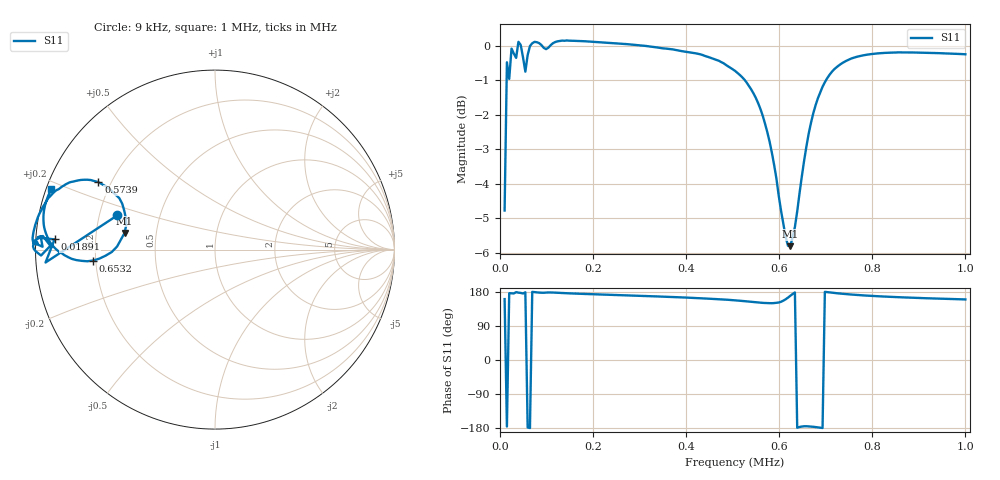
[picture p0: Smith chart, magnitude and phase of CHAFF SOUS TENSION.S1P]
!Agilent Technologies,E5071C,MY46109397,A.09.54
!Date: Mon Jan 01 01:35:31 2001
!Data & Calibration Information:
!Freq	S11:SOLT1(ON)
# Hz S RI R 50
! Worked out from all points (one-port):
!   201 points, 9 kHz to 1 MHz, reference 50 ohm
!   lowest |S11| = -5.8 dB at 623.4 kHz (marker M1), VSWR 3.10, Z = 16.2 + j4.09 ohm
!   |S11| at or under -10 dB: nowhere
!   S11 on the Smith chart (normalised r, x): 9 kHz: 0.28, +0.16; 18.91 kHz: 0.06, +0.03; 573.9 kHz: 0.15, +0.26; 653.1 kHz: 0.19, -0.04; 1 MHz: 0.01, +0.18
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9000  -0.5447 0.1905
13955  -0.9442 -0.072
18910  -0.8939 0.0569
23865  -0.9888 0.0672
28820  -0.9719 0.0751
33775  -0.9607 0.016
38730  -1.013 0.0399
48640  -0.9591 0.0758
53595  -0.9174 0.0211
58550  -0.9692 -0.033
68460  -1.009 0.00327
98190  -0.9887 0.0368
132875  -1.016 0.0593
256750  -0.996 0.1552
380625  -0.955 0.2442
504500  -0.85 0.3526
544140  -0.7616 0.3856
573870  -0.6491 0.3763
598645  -0.5333 0.2869
623420  -0.5038 0.0929
628375  -0.5249 0.054
638285  -0.5751 -0.0134
653150  -0.6788 -0.0608
672970  -0.7973 -0.0519
692790  -0.8724 -0.00928
752250  -0.9501 0.1171
876125  -0.944 0.2576
1000000  -0.9129 0.3352
